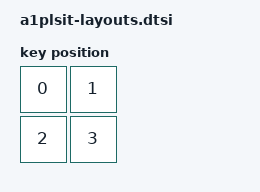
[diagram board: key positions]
// See https://zmk.dev/docs/development/hardware-integration/physical-layouts
// for how to configure this.

#include <physical_layouts.dtsi>

/ {
    physical_layout0: physical_layout_0 {
        compatible = "zmk,physical-layout";
        display-name = "Default Layout";

    &physical_layout0 {
        kscan = <&kscan0>; // Label of the kscan node this layout uses
        transform = <&default_transform>; // Label of the matrix transform this layout uses
    };
        // Edit this to define the positions and sizes of the keys, or remove it
        // if your keyboard will not support ZMK Studio.
        // https://zmk.dev/docs/development/hardware-integration/physical-layouts#optional-keys-property
        keys  //                     w   h    x    y     rot    rx    ry
            = <&key_physical_attrs 100 100    0    0       0     0     0>
            , <&key_physical_attrs 100 100  100    0       0     0     0>
            , <&key_physical_attrs 100 100    0  100       0     0     0>
            , <&key_physical_attrs 100 100  100  100       0     0     0>
            ;
    };
};
